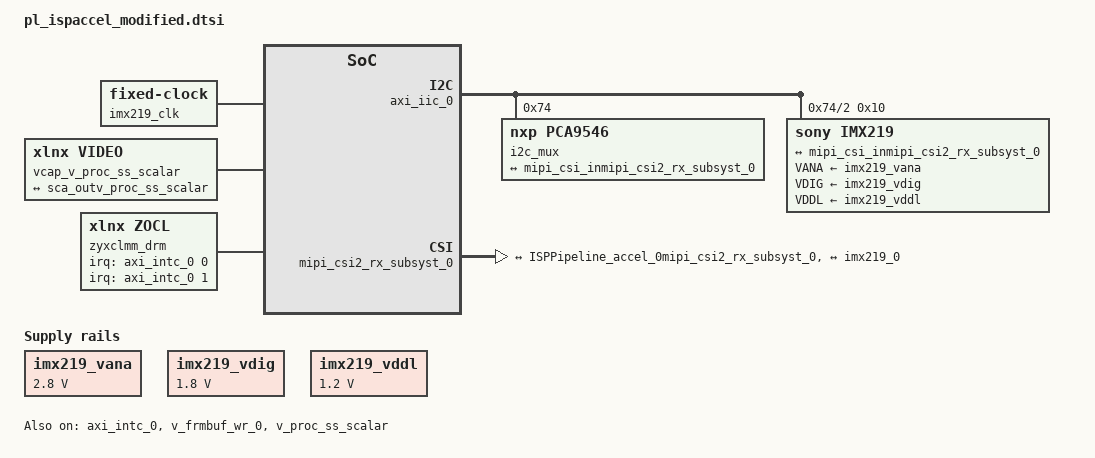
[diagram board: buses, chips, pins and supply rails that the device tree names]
/dts-v1/;
/plugin/;
	&fpga_full {
		#address-cells = <2>;
		#size-cells = <2>;
		firmware-name = "kria-mipi-isp-accel-minimal-v1_2xsa.bit.bin";
		resets = <&zynqmp_reset 116>, <&zynqmp_reset 117>, <&zynqmp_reset 118>, <&zynqmp_reset 119>;
		};
		
		
&amba {
		
		afi0: afi0 {
		compatible = "xlnx,afi-fpga";
		config-afi = < 0 0>, <1 0>, <2 0>, <3 0>, <4 0>, <5 0>, <6 0>, <7 0>, <8 0>, <9 0>, <10 0>, <11 0>, <12 0>, <13 0>, <14 0xa00>, <15 0x000>;
	};
		
		
		clocking1: clocking1 {
			compatible = "xlnx,fclk";
			status = "okay";
			assigned-clocks = <&zynqmp_clk 72>;
			assigned-clock-rates = <99999001>;
			#clock-cells = <0>;
			clock-output-names = "fabric_clk";
			clocks = <&zynqmp_clk 72>;
		};
		clocking0: clocking0 {
			compatible = "xlnx,fclk";
			status = "okay";
			assigned-clocks = <&zynqmp_clk 71>;
			assigned-clock-rates = <99999001>;
			#clock-cells = <0>;
			clock-output-names = "fabric_clk";
			clocks = <&zynqmp_clk 71>;
		};
	
		misc_clk_0: misc_clk_0 {
			clock-div = <1000>;
			compatible = "fixed-factor-clock";
			clock-mult = <2000>;
			clocks = <&zynqmp_clk 71>;
			#clock-cells = <0>;
		};
		misc_clk_1: misc_clk_1 {
			clock-div = <1000>;
			compatible = "fixed-factor-clock";
			clock-mult = <1000>;
			clocks = <&zynqmp_clk 71>;
			#clock-cells = <0>;
		};
		misc_clk_2: misc_clk_2 {
			clock-div = <1000>;
			compatible = "fixed-factor-clock";
			clock-mult = <1140>;
			clocks = <&zynqmp_clk 71>;
			#clock-cells = <0>;
		};
		
		imx219_clk:camera-clk {
				compatible = "fixed-clock";
				#clock-cells = <0>;
				clock-frequency = <24000000>;
			};
		
		imx219_vana: fixedregulator@3 {
			compatible = "regulator-fixed";
			regulator-name = "imx219_vana";
			regulator-min-microvolt = <2800000>;
			regulator-max-microvolt = <2800000>;
			enable-active-high;
		};

		imx219_vdig: fixedregulator@4 {
			compatible = "regulator-fixed";
			regulator-name = "imx219_vdig";
			regulator-min-microvolt = <1800000>;
			regulator-max-microvolt = <1800000>;
		};

		imx219_vddl: fixedregulator@5 {
			compatible = "regulator-fixed";
			regulator-name = "imx219_vddl";
			regulator-min-microvolt = <1200000>;
			regulator-max-microvolt = <1200000>;
		};	
		
		
		
		
		axi_intc_0: interrupt-controller@80000000 {
			#interrupt-cells = <2>;
			interrupts = < 0 89 4 >;
			xlnx,sense-of-irq-edge-type = "Rising";
			xlnx,edk-special = "INTR_CTRL";
			xlnx,kind-of-intr = <0x0>;
			xlnx,kind-of-edge = <0xffffffff>;
			xlnx,irq-is-level = <1>;
			xlnx,has-ivr = <1>;
			compatible = "xlnx,axi-intc-4.1" , "xlnx,xps-intc-1.00.a";
			xlnx,disable-synchronizers = <0>;
			xlnx,kind-of-lvl = <0xffffffff>;
			xlnx,ivar-reset-value = <0x10>;
			xlnx,irq-active = <0x1>;
			interrupt-parent = <&gic>;
			xlnx,en-cascade-mode = <0>;
			xlnx,ip-name = "axi_intc";
			xlnx,has-ilr = <0>;
			reg = <0x0 0x80000000 0x0 0x10000>;
			xlnx,addr-width = <0x20>;
			clocks = <&misc_clk_0>;
			xlnx,s-axi-aclk-freq-mhz = <0xbebba30>;
			xlnx,num-sw-intr = <0>;
			xlnx,irq-connection = <1>;
			xlnx,num-intr-inputs = <0x5>;
			xlnx,has-sie = <1>;
			xlnx,enable-async = <0>;
			xlnx,has-cie = <1>;
			xlnx,num-sync-ff = <2>;
			xlnx,edk-iptype = "PERIPHERAL";
			xlnx,mb-clk-not-connected = <1>;
			xlnx,has-ipr = <1>;
			xlnx,sense-of-irq-level-type = "Active_High";
			xlnx,cascade-master = <0>;
			xlnx,processor-clk-freq-mhz = <100>;
			status = "okay";
			xlnx,is-fast = <0x0>;
			clock-names = "s_axi_aclk";
			xlnx,has-fast = <0>;
			xlnx,ivar-rst-val = <0x10>;
			interrupt-controller;
			interrupt-names = "irq";
			xlnx,async-intr = <0xfffffff1>;
			xlnx,name = "axi_intc_0";
		};
		ISPPipeline_accel_0: ISPPipeline_accel@80020000 {
			compatible = "xlnx,ISPPipeline-accel-1.0" , "xlnx,isppipeline-1.0";
			xlnx,max-height = /bits/ 16 <720>;
			xlnx,max-width = /bits/ 16 <1280>;
			reset-gpios = <&gpio 78 1>;
			reg = <0x0 0x80020000 0x0 0x10000>;
			xlnx,bgain =  /bits/ 16 <210>;
			xlnx,rgain =  /bits/ 16 <128>;
			clocks = <&misc_clk_0>;
			xlnx,pawb =   /bits/ 16 <350>;
			clock-names = "ap_clk";
			xlnx,mode-reg = <1>;
			
			// not necessary
			interrupt-names = "interrupt";
			interrupts = < 3 2 >;
			interrupt-parent = <&axi_intc_0>;
			
			isppipeline_portsISPPipeline_accel_0: ports {
				#address-cells = <1>;
				#size-cells = <0>;
				isppipeline_port0ISPPipeline_accel_0: port@0 {
					reg = <0>;
					xlnx,video-width = <10>;
					xlnx,cfa-pattern = "rggb";
					ISPPipeline_accel_0mipi_csi2_rx_subsyst_0: endpoint {
						remote-endpoint = <&mipi_csirx_outmipi_csi2_rx_subsyst_0>;
					};
				};
				isppipeline_port1ISPPipeline_accel_0: port@1 {
					reg = <1>;
					xlnx,video-width = <8>;
					xlnx,cfa-pattern = "rggb";
					ISPPipeline_accel_0v_proc_ss_scalar: endpoint {
						remote-endpoint = <&v_proc_ssISPPipeline_accel_0>;
					};
				};
			};
		};
		axi_iic_0: i2c@80040000 {
			interrupts = < 3 2 >;
			xlnx,iic-freq-khz = <100>;
			compatible = "xlnx,axi-iic-2.1" , "xlnx,xps-iic-2.00.a";
			xlnx,scl-inertial-delay = <0>;
			interrupt-parent = <&axi_intc_0>;
			xlnx,ip-name = "axi_iic";
			xlnx,disable-setup-violation-check = <0>;
			reg = <0x0 0x80040000 0x0 0x10000>;
			clocks = <&misc_clk_0>;
			xlnx,gpo-width = <1>;
			xlnx,edk-iptype = "PERIPHERAL";
			xlnx,static-timing-reg-width = <0>;
			xlnx,sda-level = <1>;
			status = "okay";
			clock-names = "s_axi_aclk";
			xlnx,use-board-flow;
			xlnx,ten-bit-adr = <0>;
			xlnx,default-value = <0x0>;
			interrupt-names = "iic2intc_irpt";
			xlnx,iic-board-interface = "som240_1_connector_hda_iic_switch";
			xlnx,timing-reg-width = <32>;
			xlnx,iic-freq = <100000>;
			xlnx,smbus-pmbus-host = <0>;
			xlnx,name = "axi_iic_0";
			xlnx,axi-aclk-freq-mhz = <0xbebba30>;
			xlnx,sda-inertial-delay = <0>;
			
			
			i2c_mux: i2c-mux@74 {
			compatible = "nxp,pca9546";
			#address-cells = <1>;
			#size-cells = <0>;
			reg = <0x74>;

			i2c@2 {
				#address-cells = <1>;
				#size-cells = <0>;
				reg = <2>;
				imx219: sensor@10 {
					compatible = "sony,imx219";
					reg = <0x10>;
					clocks = <&imx219_clk>;
					VANA-supply = <&imx219_vana>;   /* 2.8v */
					VDIG-supply = <&imx219_vdig>;   /* 1.8v */
					VDDL-supply = <&imx219_vddl>;   /* 1.2v */
					//reset-gpios = <&axi_gpio 2 0 0>;

					port {
					     imx219_0: endpoint {
						remote-endpoint = <&mipi_csi_inmipi_csi2_rx_subsyst_0>;
						data-lanes = <1 2>;
						link-frequencies = /bits/ 64 <456000000>;
						};
					};
				};
			};
		};
		};
		
		
		mipi_csi2_rx_subsyst_0: mipi_csi2_rx_subsystem@80010000 {
			reg = <0x0 0x80010000 0x0 0x1000>;
			xlnx,ppc = <2>;
			xlnx,max-lanes = <2>;
			interrupt-names = "csirxss_csi_irq";
			compatible = "xlnx,mipi-csi2-rx-subsystem-6.0" , "xlnx,mipi-csi2-rx-subsystem-5.0";
			xlnx,en-active-lanes;
			xlnx,vfb;
			interrupt-parent = <&axi_intc_0>;
			status = "okay";
			xlnx,vc = <4>;
			xlnx,name = "mipi_csi2_rx_subsyst_0";
			interrupts = < 0 2 >;
			clocks = <&misc_clk_0>, <&misc_clk_1>, <&misc_clk_0>;
			clock-names = "dphy_clk_200M" , "lite_aclk" , "video_aclk";
			xlnx,csi-pxl-format = <0x2b>;
			xlnx,axis-tdata-width = <32>;

			mipi_csi_portsmipi_csi2_rx_subsyst_0: ports {
				#address-cells = <1>;
				#size-cells = <0>;
				mipi_csi_port1mipi_csi2_rx_subsyst_0: port@1 {
					xlnx,video-width = <8>;
					reg = <1>;
					xlnx,video-format = <12>;
					//xlnx,cfa-pattern = "rggb";
					mipi_csirx_outmipi_csi2_rx_subsyst_0: endpoint {
						remote-endpoint = <&ISPPipeline_accel_0mipi_csi2_rx_subsyst_0>;
					};
				};
				mipi_csi_port0mipi_csi2_rx_subsyst_0: port@0 {
					xlnx,video-width = <8>;
					reg = <0>;
					xlnx,video-format = <12>;
					//xlnx,cfa-pattern = "rggb";
					mipi_csi_inmipi_csi2_rx_subsyst_0: endpoint {
						
						data-lanes = < 1 2 >;
						remote-endpoint = <&imx219_0>;
					};
				};
			};
		};
		v_frmbuf_wr_0: v_frmbuf_wr@80030000 {
			xlnx,has-y-uv8 = <0>;
			reset-gpios = <&gpio 80 1>;
			xlnx,max-height = <1080>;
			xlnx,has-bgra8 = <0>;
			xlnx,has-rgba8 = <0>;
			xlnx,ip-name = "v_frmbuf_wr";
			reg = <0x0 0x80030000 0x0 0x10000>;
			xlnx,s-axi-ctrl-addr-width = <0x7>;
			xlnx,pixels-per-clock = <1>;
			xlnx,samples-per-clock = <1>;
			xlnx,max-nr-planes = <3>;
			xlnx,has-bgr8 = <1>;
			xlnx,has-rgb8 = <1>;
			xlnx,has-y-uv8-420 = <1>;
			xlnx,has-yuyv8 = <0>;
			xlnx,has-y-u-v8 = <0>;
			interrupt-names = "interrupt";
			compatible = "xlnx,v-frmbuf-wr-3.0" , "xlnx,axi-frmbuf-wr-v2.2";
			xlnx,max-width = <1920>;
			xlnx,has-rgb16 = <0>;
			xlnx,vid-formats = "rgb888" , "bgr888" , "xbgr8888" , "xrgb8888" , "xbgr2101010" , "vuy888" , "xvuy8888" , "nv12" , "y_u_v10";
			xlnx,has-bgrx8 = <1>;
			xlnx,has-rgbx8 = <1>;
			xlnx,has-rgbx10 = <1>;
			interrupt-parent = <&axi_intc_0>;
			xlnx,aximm-num-outstanding = <4>;
			xlnx,has-uyvy8 = <0>;
			xlnx,use-uram = <0>;
			xlnx,has-rgbx12 = <0>;
			xlnx,aximm-burst-length = <16>;
			xlnx,aximm-addr-width = <32>;
			xlnx,video-width = <8>;
			xlnx,max-cols = <1920>;
			xlnx,has-yuv8 = <1>;
			status = "okay";
			xlnx,has-y-uv10-420 = <0>;
			xlnx,has-yuva8 = <0>;
			xlnx,has-y-uv12-420 = <0>;
			xlnx,name = "v_frmbuf_wr_0";
			interrupts = < 2 2 >;
			xlnx,has-y10 = <0>;
			xlnx,has-y-uv16-420 = <0>;
			xlnx,has-y12 = <0>;
			xlnx,has-alpha = <0>;
			xlnx,has-y-u-v10 = <1>;
			clocks = <&misc_clk_0>;
			xlnx,has-y16 = <0>;
			xlnx,dma-align = <8>;
			xlnx,has-y-u-v12 = <0>;
			xlnx,edk-iptype = "PERIPHERAL";
			xlnx,has-interlaced = <0>;
			xlnx,has-yuv16 = <0>;
			xlnx,has-yuvx8 = <1>;
			xlnx,is-tile-format = <0>;
			xlnx,dma-addr-width = <32>;
			clock-names = "ap_clk";
			xlnx,s-axi-ctrl-data-width = <0x20>;
			xlnx,has-y8 = <0>;
			xlnx,has-y-uv10 = <0>;
			xlnx,has-y-uv12 = <0>;
			xlnx,max-rows = <1080>;
			xlnx,has-yuvx10 = <0>;
			#dma-cells = <1>;
			xlnx,has-yuvx12 = <0>;
			xlnx,has-y-uv16 = <0>;
			xlnx,max-data-width = <8>;
			xlnx,has-y-u-v8-420 = <0>;
			xlnx,num-video-components = <3>;
			xlnx,aximm-data-width = <128>;
		};
		v_proc_ss_scalar: v_proc_ss@80080000 {
			xlnx,v-chroma-taps = <4>;
			xlnx,h-chroma-algorithm = <2>;
			hcrsmplr-present = <0>;
			reset-gpios = <&gpio 79 1>;
			xlnx,max-height = <1080>;
			rstaxis-present = <1>;
			vscale-present = <1>;
			xlnx,ip-name = "v_proc_ss";
			xlnx,enable-interlaced;
			reg = <0x0 0x80080000 0x0 0x40000>;
			hscale-present = <1>;
			xlnx,deint-motion-adaptive;
			xlnx,num-hori-taps = <6>;
			xlnx,h-scaler-taps = <6>;
			deint-present = <0>;
			xlnx,topology = <0>;
			xlnx,chroma-algorithm = <2>;
			compatible = "xlnx,v-proc-ss-2.3" ,"xlnx,v-vpss-scaler-2.2";
			xlnx,csc-enable-window =  "true";
			xlnx,max-width = <1920>;
			xlnx,aximm-num-outstanding = <16>;
			xlnx,vdma-aximm-addr-width = <32>;
			xlnx,use-uram = <0>;
			xlnx,aximm-burst-length = <16>;
			xlnx,aximm-addr-width = <32>;
			xlnx,v-scaler-taps = <6>;
			xlnx,scaler-enable-422;
			xlnx,video-width = <8>;
			xlnx,max-cols = <1920>;
			xlnx,colorspace-support = <0>;
			status = "okay";
			xlnx,read-fifo-depth = <128>;
			vdma-present = <0>;
			xlnx,name = "v_proc_ss_scalar";
			xlnx,csc-enable-422 =  "true";
			xlnx,num-vert-taps = <6>;
			xlnx,pix-per-clk = <1>;
			xlnx,enable-csc =  "true";
			xlnx,scaler-algorithm = <2>;
			xlnx,v-scaler-phases = <64>;
			clocks = <&misc_clk_0>, <&misc_clk_0>;
			xlnx,max-num-phases = <64>;
			xlnx,edk-iptype = "PERIPHERAL";
			lbox-present = <0>;
			clock-names = "aclk_axis" , "aclk_ctrl";
			router-present = <0>;
			xlnx,highaddr = <0x800bffff>;
			xlnx,h-chroma-taps = <4>;
			xlnx,max-rows = <1080>;
			xlnx,h-scaler-phases = <64>;
			xlnx,max-data-width = <8>;
			xlnx,enable-dma;
			xlnx,write-fifo-depth = <128>;
			xlnx,num-video-components = <3>;
			xlnx,aximm-data-width = <64>;
			xlnx,samples-per-clk = <1>;
			xlnx,v-chroma-algorithm = <2>;
			csc-present = <0>;
			scaler_portsv_proc_ss_scalar: ports {
				#address-cells = <1>;
				#size-cells = <0>;
				scaler_port1v_proc_ss_scalar: port@1 {
					xlnx,video-width = <8>;
					reg = <1>;
					xlnx,video-format = <3>;
					sca_outv_proc_ss_scalar: endpoint {
						remote-endpoint = <&v_frmbuf_wr_0v_proc_ss_scalar>;
					};
				};
				scaler_port0v_proc_ss_scalar: port@0 {
					xlnx,video-width = <8>;
					reg = <0>;
					xlnx,video-format = <3>;
					v_proc_ssISPPipeline_accel_0: endpoint {
						remote-endpoint = <&ISPPipeline_accel_0v_proc_ss_scalar>;
					};
				};
			};
		};
		
		vcap_v_proc_ss_scalar {
			compatible = "xlnx,video";
			dmas = <&v_frmbuf_wr_0 0>;
			dma-names = "port0";
			vcap_portsv_proc_ss_scalar: ports {
				#address-cells = <1>;
				#size-cells = <0>;
				vcap_portv_proc_ss_scalar: port@0 {
					direction = "input";
					reg = <0>;
					v_frmbuf_wr_0v_proc_ss_scalar: endpoint {
						remote-endpoint = <&sca_outv_proc_ss_scalar>;
					};
				};
			};
		};
		zyxclmm_drm {
		compatible = "xlnx,zocl";
		interrupts-extended = <&axi_intc_0 0 4>, <&axi_intc_0 1 4>, <&axi_intc_0 2 4>, <&axi_intc_0 3 4>, <&axi_intc_0 4 4>, <&axi_intc_0 5 4>, <&axi_intc_0 6 4>, <&axi_intc_0 7 4>, <&axi_intc_0 8 4>, <&axi_intc_0 9 4>, <&axi_intc_0 10 4>, <&axi_intc_0 11 4>, <&axi_intc_0 12 4>, <&axi_intc_0 13 4>, <&axi_intc_0 14 4>, <&axi_intc_0 15 4>, <&axi_intc_0 16 4>, <&axi_intc_0 17 4>, <&axi_intc_0 18 4>, <&axi_intc_0 19 4>, <&axi_intc_0 20 4>, <&axi_intc_0 21 4>, <&axi_intc_0 22 4>, <&axi_intc_0 23 4>, <&axi_intc_0 24 4>, <&axi_intc_0 25 4>, <&axi_intc_0 26 4>, <&axi_intc_0 27 4>, <&axi_intc_0 28 4>, <&axi_intc_0 29 4>, <&axi_intc_0 30 4>, <&axi_intc_0 31 4>;
	};
};
